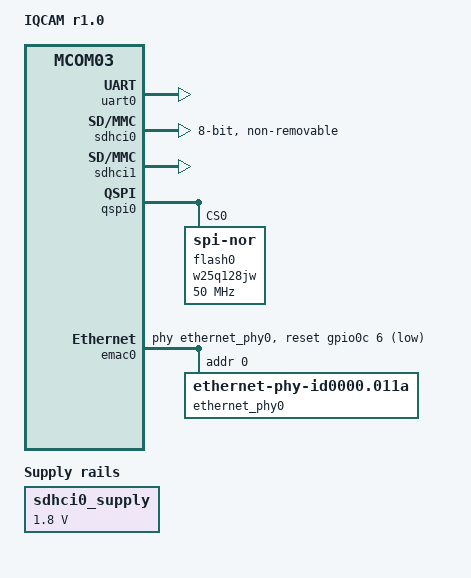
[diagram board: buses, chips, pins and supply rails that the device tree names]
// SPDX-License-Identifier: GPL-2.0+
/*
 * Copyright 2023 RnD Center "ELVEES", JSC
 */

/dts-v1/;

#include <dt-bindings/gpio/gpio.h>

#include "mcom03.dtsi"

/ {
	model = "IQCAM r1.0";
	compatible = "elvees,iqcam-r1.0",
		     "elvees,iqcam",
		     "elvees,mcom03";

	chosen {
		stdout-path = "serial0:115200n8";
	};

	sdhci0_supply: regulator@0 {
		compatible = "regulator-fixed";
		regulator-name = "sdhci0-supply";
		regulator-min-microvolt = <1800000>;
		regulator-max-microvolt = <1800000>;
		regulator-always-on;
	};

	/delete-node/ sdr@1900000;
};

&uart0 {
	status = "okay";

	clock-frequency = <27920454>;
};

&sdhci0 {
	status = "okay";

	non-removable;
	bus-width = <8>;

	vqmmc-supply = <&sdhci0_supply>;
};

&sdhci1 {
	status = "okay";

	/* Disable 1.8V support
	 * Disable SDR50, SDR104 and DDR50 support
	 */
	sdhci-caps-mask = <0x7 0x4000000>;
	sdhci-caps = <0x0 0x0>;
};

&qspi0 {
	status = "okay";

	flash0: w25q128jw@0 {
		#address-cells = <1>;
		#size-cells = <1>;
		compatible = "jedec,spi-nor", "spi-flash";
		reg = <0x0>;
		/* This is the highest frequency at which all commands are
		 * supported by the flash device.
		 */
		spi-max-frequency = <50000000>;

		spi-tx-bus-width = <4>;
		spi-rx-bus-width = <4>;
	};
};

&emac0 {
	status = "okay";

	phy-handle = <&ethernet_phy0>;

	reset-gpios = <&gpio0c 6 GPIO_ACTIVE_LOW>;

	ethernet_phy0: ethernet-phy@0 {
		compatible = "ethernet-phy-id0000.011a", "ethernet-phy-ieee802.3-c22";
		reg = <0x0>;

		motorcomm,clk-out-frequency-hz = <0>;
		rx-internal-delay-ps = <1800>;
		tx-internal-delay-ps = <1200>;
	};
};
